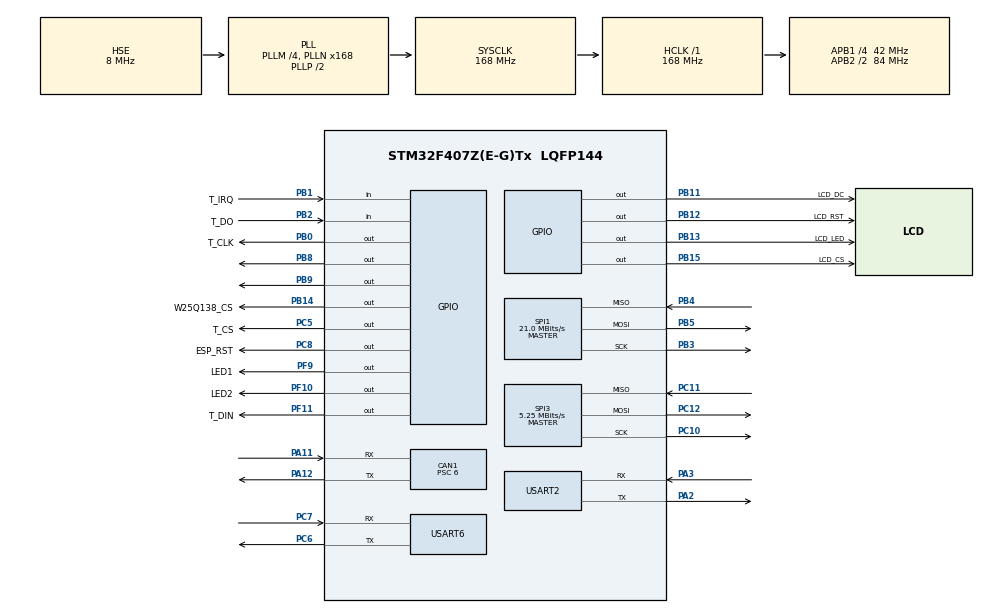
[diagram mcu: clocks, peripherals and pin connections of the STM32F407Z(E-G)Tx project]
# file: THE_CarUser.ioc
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CAN1.ABOM=ENABLE
CAN1.BS1=CAN_BS1_9TQ
CAN1.BS2=CAN_BS2_4TQ
CAN1.CalculateBaudRate=500000
CAN1.CalculateTimeBit=2000
CAN1.CalculateTimeQuantum=142.85714285714286
CAN1.Mode=CAN_MODE_SILENT_LOOPBACK
CAN1.NART=ENABLE
CAN1.Prescaler=6
Dma.Request0=SPI1_TX
Dma.Request1=SPI3_TX
Dma.Request2=USART6_RX
Dma.SPI1_TX.0.Direction=DMA_MEMORY_TO_PERIPH
Dma.SPI1_TX.0.FIFOMode=DMA_FIFOMODE_DISABLE
Dma.SPI1_TX.0.Instance=DMA2_Stream3
Dma.SPI1_TX.0.MemDataAlignment=DMA_MDATAALIGN_BYTE
Dma.SPI1_TX.0.MemInc=DMA_MINC_ENABLE
Dma.SPI1_TX.0.Mode=DMA_NORMAL
Dma.SPI1_TX.0.PeriphDataAlignment=DMA_PDATAALIGN_BYTE
Dma.SPI1_TX.0.PeriphInc=DMA_PINC_DISABLE
Dma.SPI1_TX.0.Priority=DMA_PRIORITY_LOW
Dma.SPI3_TX.1.Direction=DMA_MEMORY_TO_PERIPH
Dma.SPI3_TX.1.FIFOMode=DMA_FIFOMODE_DISABLE
Dma.SPI3_TX.1.Instance=DMA1_Stream5
Dma.SPI3_TX.1.MemDataAlignment=DMA_MDATAALIGN_BYTE
Dma.SPI3_TX.1.MemInc=DMA_MINC_ENABLE
Dma.SPI3_TX.1.Mode=DMA_NORMAL
Dma.SPI3_TX.1.PeriphDataAlignment=DMA_PDATAALIGN_BYTE
Dma.SPI3_TX.1.PeriphInc=DMA_PINC_DISABLE
Dma.SPI3_TX.1.Priority=DMA_PRIORITY_LOW
Dma.USART6_RX.2.Direction=DMA_PERIPH_TO_MEMORY
Dma.USART6_RX.2.FIFOMode=DMA_FIFOMODE_DISABLE
Dma.USART6_RX.2.Instance=DMA2_Stream1
Dma.USART6_RX.2.MemDataAlignment=DMA_MDATAALIGN_BYTE
Dma.USART6_RX.2.MemInc=DMA_MINC_ENABLE
Dma.USART6_RX.2.Mode=DMA_NORMAL
Dma.USART6_RX.2.PeriphDataAlignment=DMA_PDATAALIGN_BYTE
Dma.USART6_RX.2.PeriphInc=DMA_PINC_DISABLE
Dma.USART6_RX.2.Priority=DMA_PRIORITY_LOW
FREERTOS.BinarySemaphores01=LVGL_READY,Dynamic,NULL,Depleted;OTA_READY,Dynamic,NULL,Depleted
FREERTOS.Tasks01=LVGLTask,32,2048,LVGL_Task,Default,NULL,Dynamic,NULL,NULL;Lv_page_show,24,1024,Lv_show,Default,NULL,Dynamic,NULL,NULL;espRx,16,512,ESP_RxTask,Default,NULL,Dynamic,NULL,NULL;OTA,8,1024,OTA_Task,Default,NULL,Dynamic,NULL,NULL;IWDG,8,256,IWDG_Task,Default,NULL,Dynamic,NULL,NULL;CANHandle,24,256,CAN_Task,Default,NULL,Dynamic,NULL,NULL
FREERTOS.configTOTAL_HEAP_SIZE=22000
FREERTOS.configUSE_TICK_HOOK=1
IWDG.Prescaler=IWDG_PRESCALER_64
IWDG.Reload=2500
Mcu.Family=STM32F4
Mcu.Name=STM32F407Z(E-G)Tx
Mcu.Package=LQFP144
NVIC.DMA1_Stream5_IRQn=true\:5\:0\:false\:false\:true\:true\:false\:true\:true
NVIC.DMA2_Stream1_IRQn=true\:7\:0\:true\:false\:true\:false\:false\:true\:true
NVIC.DMA2_Stream3_IRQn=true\:5\:0\:true\:false\:true\:true\:false\:true\:true
NVIC.PriorityGroup=NVIC_PRIORITYGROUP_4
NVIC.TIM7_IRQn=true\:15\:0\:false\:false\:true\:false\:false\:true\:true
NVIC.TimeBase=TIM7_IRQn
NVIC.TimeBaseIP=TIM7
NVIC.USART2_IRQn=true\:5\:0\:false\:false\:true\:true\:true\:true\:true
NVIC.USART6_IRQn=true\:6\:0\:true\:false\:true\:false\:true\:true\:true
PA11.Mode=CAN_Activate
PA11.Signal=CAN1_RX
PA12.Mode=CAN_Activate
PA12.Signal=CAN1_TX
PA13.Mode=Serial_Wire
PA13.Signal=SYS_JTMS-SWDIO
PA14.Mode=Serial_Wire
PA14.Signal=SYS_JTCK-SWCLK
PA2.Mode=Asynchronous
PA2.Signal=USART2_TX
PA3.Mode=Asynchronous
PA3.Signal=USART2_RX
PB0.GPIO_Label=T_CLK
PB0.GPIO_ModeDefaultOutputPP=GPIO_MODE_OUTPUT_PP
PB0.GPIO_PuPd=GPIO_PULLUP
PB0.GPIO_Speed=GPIO_SPEED_FREQ_HIGH
PB0.PinState=GPIO_PIN_SET
PB0.Signal=GPIO_Output
PB1.GPIO_Label=T_IRQ
PB1.Signal=GPIO_Input
PB11.GPIO_Label=LCD_DC
PB11.GPIO_ModeDefaultOutputPP=GPIO_MODE_OUTPUT_PP
PB11.GPIO_PuPd=GPIO_PULLUP
PB11.GPIO_Speed=GPIO_SPEED_FREQ_MEDIUM
PB11.PinState=GPIO_PIN_SET
PB11.Signal=GPIO_Output
PB12.GPIO_Label=LCD_RST
PB12.GPIO_ModeDefaultOutputPP=GPIO_MODE_OUTPUT_PP
PB12.GPIO_PuPd=GPIO_PULLUP
PB12.GPIO_Speed=GPIO_SPEED_FREQ_MEDIUM
PB12.PinState=GPIO_PIN_SET
PB12.Signal=GPIO_Output
PB13.GPIO_Label=LCD_LED
PB13.GPIO_ModeDefaultOutputPP=GPIO_MODE_OUTPUT_PP
PB13.GPIO_PuPd=GPIO_PULLUP
PB13.GPIO_Speed=GPIO_SPEED_FREQ_MEDIUM
PB13.PinState=GPIO_PIN_SET
PB13.Signal=GPIO_Output
PB14.GPIO_Label=W25Q138_CS
PB14.GPIO_PuPd=GPIO_PULLUP
PB14.GPIO_Speed=GPIO_SPEED_FREQ_MEDIUM
PB14.PinState=GPIO_PIN_SET
PB14.Signal=GPIO_Output
PB15.GPIO_Label=LCD_CS
PB15.GPIO_ModeDefaultOutputPP=GPIO_MODE_OUTPUT_PP
PB15.GPIO_PuPd=GPIO_PULLUP
PB15.GPIO_Speed=GPIO_SPEED_FREQ_MEDIUM
PB15.PinState=GPIO_PIN_SET
PB15.Signal=GPIO_Output
PB2.GPIO_Label=T_DO
PB2.GPIO_PuPd=GPIO_PULLUP
PB2.Signal=GPIO_Input
PB3.Mode=Full_Duplex_Master
PB3.Signal=SPI1_SCK
PB4.Mode=Full_Duplex_Master
PB4.Signal=SPI1_MISO
PB5.Mode=Full_Duplex_Master
PB5.Signal=SPI1_MOSI
PB8.GPIO_ModeDefaultOutputPP=GPIO_MODE_OUTPUT_PP
PB8.GPIO_PuPd=GPIO_PULLUP
PB8.GPIO_Speed=GPIO_SPEED_FREQ_HIGH
PB8.PinState=GPIO_PIN_SET
PB8.Signal=GPIO_Output
PB9.GPIO_ModeDefaultOutputPP=GPIO_MODE_OUTPUT_PP
PB9.GPIO_PuPd=GPIO_PULLUP
PB9.GPIO_Speed=GPIO_SPEED_FREQ_HIGH
PB9.PinState=GPIO_PIN_SET
PB9.Signal=GPIO_Output
PC10.Mode=Full_Duplex_Master
PC10.Signal=SPI3_SCK
PC11.Mode=Full_Duplex_Master
PC11.Signal=SPI3_MISO
PC12.Mode=Full_Duplex_Master
PC12.Signal=SPI3_MOSI
PC14-OSC32_IN.Mode=LSE-External-Oscillator
PC14-OSC32_IN.Signal=RCC_OSC32_IN
PC15-OSC32_OUT.Mode=LSE-External-Oscillator
PC15-OSC32_OUT.Signal=RCC_OSC32_OUT
PC5.GPIO_Label=T_CS
PC5.GPIO_ModeDefaultOutputPP=GPIO_MODE_OUTPUT_PP
PC5.GPIO_PuPd=GPIO_PULLUP
PC5.GPIO_Speed=GPIO_SPEED_FREQ_HIGH
PC5.PinState=GPIO_PIN_SET
PC5.Signal=GPIO_Output
PC6.Mode=Asynchronous
PC6.Signal=USART6_TX
PC7.Mode=Asynchronous
PC7.Signal=USART6_RX
PC8.GPIO_Label=ESP_RST
PC8.PinState=GPIO_PIN_SET
PC8.Signal=GPIO_Output
PF10.GPIO_Label=LED2
PF10.PinState=GPIO_PIN_SET
PF10.Signal=GPIO_Output
PF11.GPIO_Label=T_DIN
PF11.GPIO_ModeDefaultOutputPP=GPIO_MODE_OUTPUT_PP
PF11.GPIO_PuPd=GPIO_PULLUP
PF11.GPIO_Speed=GPIO_SPEED_FREQ_HIGH
PF11.PinState=GPIO_PIN_SET
PF11.Signal=GPIO_Output
PF9.GPIO_Label=LED1
PF9.PinState=GPIO_PIN_SET
PF9.Signal=GPIO_Output
PH0-OSC_IN.Mode=HSE-External-Oscillator
PH0-OSC_IN.Signal=RCC_OSC_IN
PH1-OSC_OUT.Mode=HSE-External-Oscillator
PH1-OSC_OUT.Signal=RCC_OSC_OUT
ProjectManager.HeapSize=0x4400
ProjectManager.StackSize=0x4400
ProjectManager.TargetToolchain=MDK-ARM V5.32
RCC.48MHZClocksFreq_Value=84000000
RCC.AHBFreq_Value=168000000
RCC.APB1CLKDivider=RCC_HCLK_DIV4
RCC.APB1Freq_Value=42000000
RCC.APB1TimFreq_Value=84000000
RCC.APB2CLKDivider=RCC_HCLK_DIV2
RCC.APB2Freq_Value=84000000
RCC.APB2TimFreq_Value=168000000
RCC.CortexFreq_Value=168000000
RCC.HCLKFreq_Value=168000000
RCC.HSE_VALUE=8000000
RCC.HSI_VALUE=16000000
RCC.PLLM=4
RCC.PLLN=168
RCC.PLLSourceVirtual=RCC_PLLSOURCE_HSE
RCC.SYSCLKFreq_VALUE=168000000
RCC.SYSCLKSource=RCC_SYSCLKSOURCE_PLLCLK
RCC.VCOOutputFreq_Value=336000000
SPI1.BaudRatePrescaler=SPI_BAUDRATEPRESCALER_4
SPI1.CLKPhase=SPI_PHASE_1EDGE
SPI1.CLKPolarity=SPI_POLARITY_LOW
SPI1.CalculateBaudRate=21.0 MBits/s
SPI1.Direction=SPI_DIRECTION_2LINES
SPI1.Mode=SPI_MODE_MASTER
SPI1.VirtualType=VM_MASTER
SPI3.BaudRatePrescaler=SPI_BAUDRATEPRESCALER_8
SPI3.CalculateBaudRate=5.25 MBits/s
SPI3.Direction=SPI_DIRECTION_2LINES
SPI3.Mode=SPI_MODE_MASTER
SPI3.VirtualType=VM_MASTER
TIM1.Prescaler=168-1
USART2.VirtualMode=VM_ASYNC
USART6.VirtualMode=VM_ASYNC
VP_FREERTOS_VS_CMSIS_V2.Mode=CMSIS_V2
VP_IWDG_VS_IWDG.Mode=IWDG_Activate
VP_SYS_VS_tim7.Mode=TIM7
VP_TIM1_VS_ClockSourceINT.Mode=Internal
board=custom

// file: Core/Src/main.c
/* USER CODE BEGIN Header */
/**
  ******************************************************************************
  * @file           : main.c
  * @brief          : Main program body
  ******************************************************************************
  * @attention
  *
  * Copyright (c) 2026 STMicroelectronics.
  * All rights reserved.
  *
  * This software is licensed under terms that can be found in the LICENSE file
  * in the root directory of this software component.
  * If no LICENSE file comes with this software, it is provided AS-IS.
  *
  ******************************************************************************
  */
/* USER CODE END Header */
#include "main.h"
#include "cmsis_os.h"
#include "can.h"
#include "dma.h"
#include "iwdg.h"
#include "spi.h"
#include "tim.h"
#include "usart.h"
#include "gpio.h"

/* USER CODE BEGIN Includes */
#include "lvgl.h"
#include "FreeRTOS.h"
#include "task.h"
/* USER CODE END Includes */

void SystemClock_Config(void);
void MX_FREERTOS_Init(void);

int main(void)
{

  /* USER CODE BEGIN 1 */
	__set_PRIMASK(0);
	SCB->VTOR = 0x08010000;
  /* USER CODE END 1 */

  /* MCU Configuration--------------------------------------------------------*/

  /* Reset of all peripherals, Initializes the Flash interface and the Systick. */
  HAL_Init();

  /* Configure the system clock */
  SystemClock_Config();

  /* Initialize all configured peripherals */
  MX_GPIO_Init();
  MX_DMA_Init();
  MX_SPI1_Init();
  MX_TIM1_Init();
  MX_USART2_UART_Init();
  MX_SPI3_Init();
  MX_IWDG_Init();
  MX_CAN1_Init();
  /* USER CODE BEGIN 2 */
  MX_USART6_UART_Init();
  /* USER CODE END 2 */

  /* Init scheduler */
  osKernelInitialize();

  /* Call init function for freertos objects (in cmsis_os2.c) */
  MX_FREERTOS_Init();

  /* Start scheduler */
  osKernelStart();

  /* We should never get here as control is now taken by the scheduler */

  /* Infinite loop */
  while (1)
  {

  }
}

void SystemClock_Config(void)
{
  RCC_OscInitTypeDef RCC_OscInitStruct = {0};
  RCC_ClkInitTypeDef RCC_ClkInitStruct = {0};

  /** Configure the main internal regulator output voltage
  */
  __HAL_RCC_PWR_CLK_ENABLE();
  __HAL_PWR_VOLTAGESCALING_CONFIG(PWR_REGULATOR_VOLTAGE_SCALE1);

  /** Initializes the RCC Oscillators according to the specified parameters
  * in the RCC_OscInitTypeDef structure.
  */
  RCC_OscInitStruct.OscillatorType = RCC_OSCILLATORTYPE_LSI|RCC_OSCILLATORTYPE_HSE;
  RCC_OscInitStruct.HSEState = RCC_HSE_ON;
  RCC_OscInitStruct.LSIState = RCC_LSI_ON;
  RCC_OscInitStruct.PLL.PLLState = RCC_PLL_ON;
  RCC_OscInitStruct.PLL.PLLSource = RCC_PLLSOURCE_HSE;
  RCC_OscInitStruct.PLL.PLLM = 4;
  RCC_OscInitStruct.PLL.PLLN = 168;
  RCC_OscInitStruct.PLL.PLLP = RCC_PLLP_DIV2;
  RCC_OscInitStruct.PLL.PLLQ = 4;
  if (HAL_RCC_OscConfig(&RCC_OscInitStruct) != HAL_OK)
  {
    Error_Handler();
  }

  /** Initializes the CPU, AHB and APB buses clocks
  */
  RCC_ClkInitStruct.ClockType = RCC_CLOCKTYPE_HCLK|RCC_CLOCKTYPE_SYSCLK
                              |RCC_CLOCKTYPE_PCLK1|RCC_CLOCKTYPE_PCLK2;
  RCC_ClkInitStruct.SYSCLKSource = RCC_SYSCLKSOURCE_PLLCLK;
  RCC_ClkInitStruct.AHBCLKDivider = RCC_SYSCLK_DIV1;
  RCC_ClkInitStruct.APB1CLKDivider = RCC_HCLK_DIV4;
  RCC_ClkInitStruct.APB2CLKDivider = RCC_HCLK_DIV2;

  if (HAL_RCC_ClockConfig(&RCC_ClkInitStruct, FLASH_LATENCY_5) != HAL_OK)
  {
    Error_Handler();
  }
}

/* USER CODE BEGIN 4 */
void vApplicationTickHook(void)
{
    lv_tick_inc(1);
}
/* USER CODE END 4 */

void HAL_TIM_PeriodElapsedCallback(TIM_HandleTypeDef *htim)
{
  if (htim->Instance == TIM7) {
    HAL_IncTick();
  }
}

void Error_Handler(void)
{
  __disable_irq();
  while (1)
  {
  }
}

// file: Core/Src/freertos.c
/* USER CODE BEGIN Header */
/**
 ******************************************************************************
 * File Name          : freertos.c
 * Description        : Code for freertos applications
 ******************************************************************************
 * @attention
 *
 * Copyright (c) 2026 STMicroelectronics.
 * All rights reserved.
 *
 * This software is licensed under terms that can be found in the LICENSE file
 * in the root directory of this software component.
 * If no LICENSE file comes with this software, it is provided AS-IS.
 *
 ******************************************************************************
 */
/* USER CODE END Header */

#include "FreeRTOS.h"
#include "task.h"
#include "main.h"
#include "cmsis_os.h"

/* USER CODE BEGIN Includes */
#include "usart.h"
#include <stdio.h>

// 底层代码
#include "ili9341.h"
#include "touch.h"
#include "w25q128.h"
#include "esp8266.h"
#include "led.h"

// 中间层代码
#include "ESP_MQTT.h"
#include "lvgl.h"
#include "lv_port_disp.h"
#include "lv_port_indev.h"
#include "APP_lv_gui.h"
#include "APP_ota.h"
#include "ota_http.h"
#include "iwdg.h"
#include "APP_can.h"
/* USER CODE END Includes */

/* Definitions for LVGLTask */
// LVGL 界面刷新任务：获取 LVGL_READY 信号量后周期性调用 lv_timer_handler() 刷新界面
osThreadId_t LVGLTaskHandle;
const osThreadAttr_t LVGLTask_attributes = {
  .name = "LVGLTask",
  .stack_size = 2048 * 4,
  .priority = (osPriority_t) osPriorityAboveNormal,
};
/* Definitions for Lv_page_show */
// LVGL 初始化任务：初始化 LCD/触摸/Flash/LED 与 LVGL，完成后释放 LVGL_READY
osThreadId_t Lv_page_showHandle;
const osThreadAttr_t Lv_page_show_attributes = {
  .name = "Lv_page_show",
  .stack_size = 1024 * 4,
  .priority = (osPriority_t) osPriorityNormal,
};
/* Definitions for espRx */
// ESP8266 通信任务：连接 WiFi/MQTT 并循环处理消息，初始化完成后释放 OTA_READY
osThreadId_t espRxHandle;
const osThreadAttr_t espRx_attributes = {
  .name = "espRx",
  .stack_size = 512 * 4,
  .priority = (osPriority_t) osPriorityBelowNormal,
};
/* Definitions for OTA */
// OTA 固件升级任务：等待 OTA_READY 后执行升级流程，并周期性检查/下载新版本
osThreadId_t OTAHandle;
const osThreadAttr_t OTA_attributes = {
  .name = "OTA",
  .stack_size = 1024 * 4,
  .priority = (osPriority_t) osPriorityLow,
};
/* Definitions for IWDG */
// 独立看门狗喂狗任务：周期性刷新 IWDG，OTA 下载期间停止喂狗以触发复位
osThreadId_t IWDGHandle;
const osThreadAttr_t IWDG_attributes = {
  .name = "IWDG",
  .stack_size = 256 * 4,
  .priority = (osPriority_t) osPriorityLow,
};
/* Definitions for CANHandle */
// CAN 总线通信任务：初始化 CAN 后周期性轮询收发
osThreadId_t CANHandleHandle;
const osThreadAttr_t CANHandle_attributes = {
  .name = "CANHandle",
  .stack_size = 256 * 4,
  .priority = (osPriority_t) osPriorityNormal,
};
/* Definitions for LVGL_READY */
// LVGL 初始化完成信号量：由 Lv_show 释放，LVGL_Task 获取
osSemaphoreId_t LVGL_READYHandle;
const osSemaphoreAttr_t LVGL_READY_attributes = {
  .name = "LVGL_READY"
};
/* Definitions for OTA_READY */
// 初始化完成信号量：由 ESP_RxTask 释放，OTA_Task 获取后开始升级
osSemaphoreId_t OTA_READYHandle;
const osSemaphoreAttr_t OTA_READY_attributes = {
  .name = "OTA_READY"
};

void LVGL_Task(void *argument);
void Lv_show(void *argument);
void ESP_RxTask(void *argument);
void OTA_Task(void *argument);
void IWDG_Task(void *argument);
void CAN_Task(void *argument);

void MX_FREERTOS_Init(void); /* (MISRA C 2004 rule 8.1) */

/* Hook prototypes */
void vApplicationTickHook(void);

/* USER CODE BEGIN 3 */
__weak void vApplicationTickHook(void)
{
  /* This function will be called by each tick interrupt if
  configUSE_TICK_HOOK is set to 1 in FreeRTOSConfig.h. User code can be
  added here, but the tick hook is called from an interrupt context, so
  code must not attempt to block, and only the interrupt safe FreeRTOS API
  functions can be used (those that end in FromISR()). */
}
/* USER CODE END 3 */

void MX_FREERTOS_Init(void) {

  /* Create the semaphores(s) */
  /* creation of LVGL_READY */
  LVGL_READYHandle = osSemaphoreNew(1, 0, &LVGL_READY_attributes);

  /* creation of OTA_READY */
  OTA_READYHandle = osSemaphoreNew(1, 0, &OTA_READY_attributes);

  /* Create the thread(s) */
  /* creation of LVGLTask */
  LVGLTaskHandle = osThreadNew(LVGL_Task, NULL, &LVGLTask_attributes);

  /* creation of Lv_page_show */
  Lv_page_showHandle = osThreadNew(Lv_show, NULL, &Lv_page_show_attributes);

  /* creation of espRx */
  espRxHandle = osThreadNew(ESP_RxTask, NULL, &espRx_attributes);

  /* creation of OTA */
  OTAHandle = osThreadNew(OTA_Task, NULL, &OTA_attributes);

  /* creation of IWDG */
  IWDGHandle = osThreadNew(IWDG_Task, NULL, &IWDG_attributes);

  /* creation of CANHandle */
  CANHandleHandle = osThreadNew(CAN_Task, NULL, &CANHandle_attributes);

}

void LVGL_Task(void *argument)
{
  /* USER CODE BEGIN LVGL_Task */
  /* 等待 LVGL 初始化完成（Lv_show 释放 LVGL_READY），随后周期性刷新界面 */
  osSemaphoreAcquire(LVGL_READYHandle, osWaitForever);
//	LCD_Clear(BLACK);
  /* Infinite loop */
  for (;;)
  {
    lv_timer_handler();
    vTaskDelay(pdMS_TO_TICKS(1));
  }
  /* USER CODE END LVGL_Task */
}

void Lv_show(void *argument)
{
  /* USER CODE BEGIN Lv_show */
  /* 初始化底层硬件与 LVGL，构建界面后释放 LVGL_READY 通知刷新任务 */
  LCD_Init();
  TP_Init();
  W25Q128_Init();
  LED_Init();
  lv_init();
  lv_port_disp_init();
  lv_port_indev_init();
  //  lv_demo_widgets();
  lv_gui();
  gui_set_version(OTA_VERSION_STR);
  osSemaphoreRelease(LVGL_READYHandle);
  /* Infinite loop */
  for (;;)
  {
    vTaskDelay(pdMS_TO_TICKS(100));
  }
  /* USER CODE END Lv_show */
}

void ESP_RxTask(void *argument)
{
  /* USER CODE BEGIN ESP_RxTask */
  /* 连接 WiFi/MQTT 并循环处理消息；初始化完成后释放 OTA_READY 通知 OTA 任务 */
  ESP_ACK ret;
  // 1. 硬件初始化
  ESP_REST();
  ESP_MQTT_InitParam(); /* 先初始化MQTT参数，不要先调Start_Recv */

  // 2. 连接WiFi
  ret = ESP_Connect_Wifi(USER_SSID, USER_PASS);
  if (ret != ESP_OK)
  {
    printf("WiFi连接失败,任务挂起\r\n");
    vTaskDelete(NULL);
  }
  printf("WiFi连接成功\r\n");
  gui_set_wifi(1); /* LVGL 显示 WiFi 已连接图标 */
  vTaskDelay(pdMS_TO_TICKS(1000));

  // 3. 连接OneNET MQTT
  ret = ESP_MQTT_Connect(5000);
  if (ret != ESP_OK)
  {
    printf("MQTT连接失败,等待重连\r\n");
  }

  /* 初始化完成，通知 OTA 任务可以开始检查升级 */
  osSemaphoreRelease(OTA_READYHandle);
  printf("[ESP] Init complete, OTA_READY released\r\n");

  // 循环处理MQTT消息
  while (1)
  {
    ESP_MQTT_MsgProcess();
    vTaskDelay(pdMS_TO_TICKS(10));
  }
  /* USER CODE END ESP_RxTask */
}

/* USER CODE BEGIN Header_OTA_Task */
/**
 * @brief  OTA 固件升级任务入口
 *
 * 全部业务流程封装在 APP_OTA_Run() 中 (见 APP/APP_ota.c),
 * 本函数仅负责创建 FreeRTOS 任务外壳并调用它
 *
 * @note  OTA_READY 信号量由 ESP_RxTask 释放, 本任务获取后开始升级
 *        espRxHandle 在 OTA 期间被挂起, 完成后恢复
 *
 * @param argument 未使用
 */
/* USER CODE END Header_OTA_Task */
void OTA_Task(void *argument)
{
  /* USER CODE BEGIN OTA_Task */
  /* 等待 OTA_READY 后执行升级流程，并周期性检查/下载新版本 */
  APP_OTA_Run(); /* 阻塞执行完整 OTA 流程 */

  /* 注册 OTA 下载按钮回调: 用户按下 LVGL "下载" 按钮后设置请求标志 */
  gui_set_ota_download_callback(APP_OTA_RequestDownload);

/* OTA 完成后, 周期性检查新版本 */
#define OTA_CHECK_INTERVAL_MS 10000
#define OTA_POLL_INTERVAL_MS 500 /* 短轮询: 快速响应下载请求 */
  uint32_t next_check_tick = HAL_GetTick() + OTA_CHECK_INTERVAL_MS;

  for (;;)
  {
    vTaskDelay(pdMS_TO_TICKS(OTA_POLL_INTERVAL_MS));

    /* ════════════════════════════════════════════════════════
     * 优先处理用户下载请求 (由 LVGL 按钮触发)
     * LVGL 按钮只设标志位, 实际下载在 OTA_Task 后台执行,
     * 这样 LVGL 任务可以继续刷新 UI, 屏幕不会卡死
     * ════════════════════════════════════════════════════════ */
    if (ota_download_requested)
    {
      ota_download_requested = 0;
      vTaskDelay(pdMS_TO_TICKS(200));
      APP_OTA_StartDownload();
      /* 下载完成: 成功→重启  失败→已恢复MQTT, 继续循环 */
      next_check_tick = HAL_GetTick() + OTA_CHECK_INTERVAL_MS;
      continue;
    }

    /* 下载进行中则跳过周期性检查, 避免 +++ 掐断 TCP */
    if (ota_busy)
    {
      continue;
    }

    /* 每 OTA_CHECK_INTERVAL_MS 执行一次周期性版本检查 */
    if (HAL_GetTick() < next_check_tick)
    {
      continue;
    }
    next_check_tick = HAL_GetTick() + OTA_CHECK_INTERVAL_MS;

    /* 暂停 MQTT, 接管 ESP8266 做 OTA 查询 */
    osThreadSuspend(espRxHandle);
    vTaskDelay(pdMS_TO_TICKS(100));
    OTA_ESP_EnterCmdMode();    /* [1] 退出数据模式 + AT 确认命令模式    */
    ESP_MQTT_Disconnect(2000); /* [2] 释放 MQTT 会话                    */
    OTA_ESP_CloseAllTCP();     /* [3] 关闭 TCP + 设置 CIPMUX=0            */
    vTaskDelay(pdMS_TO_TICKS(100));

    /* 查询 OneNET 是否有新版本 */
    OTA_Result ret = OTA_CheckTask();
    if (ret == OTA_OK && OTA_CompareVersion(ota_task.target_ver, OTA_VERSION_STR) > 0)
    {
      gui_set_ota_available(1);
    }
    else
    {
      gui_set_ota_available(0);
    }

    /* 恢复 MQTT */
    /* 若下载已在此间触发则跳过 MQTT 重连, 让下载独占 UART */
    if (!ota_busy)
    {
      ESP_MQTT_Connect(5000);
      osThreadResume(espRxHandle);
    }
  }
  /* USER CODE END OTA_Task */
}

void IWDG_Task(void *argument)
{
  /* USER CODE BEGIN IWDG_Task */
  /* 周期性刷新独立看门狗；OTA 下载期间停止喂狗，由看门狗超时复位 */
  /* Infinite loop */
  for (;;)
  {
    if (!g_ota_stop_feed_dog)
    {
      HAL_IWDG_Refresh(&hiwdg); /* stop feeding after download, let IWDG reset */
    }
    osDelay(2000);
  }
  /* USER CODE END IWDG_Task */
}

void CAN_Task(void *argument)
{
  /* USER CODE BEGIN CAN_Task */
  /* 初始化 CAN 后周期性轮询收发 */
  APP_CAN_Init(); /* 初始化 CAN: 滤波器 + 启动 */

  /* Infinite loop */
  for (;;)
  {
    // APP_CAN_DebugPoll(); /* 调试: 串口输入 转 CAN 发送 (接 F1 后屏蔽) */
    APP_CAN_Run(); /* 轮询接收并解析 */
    vTaskDelay(pdMS_TO_TICKS(5));
  }
  /* USER CODE END CAN_Task */
}
